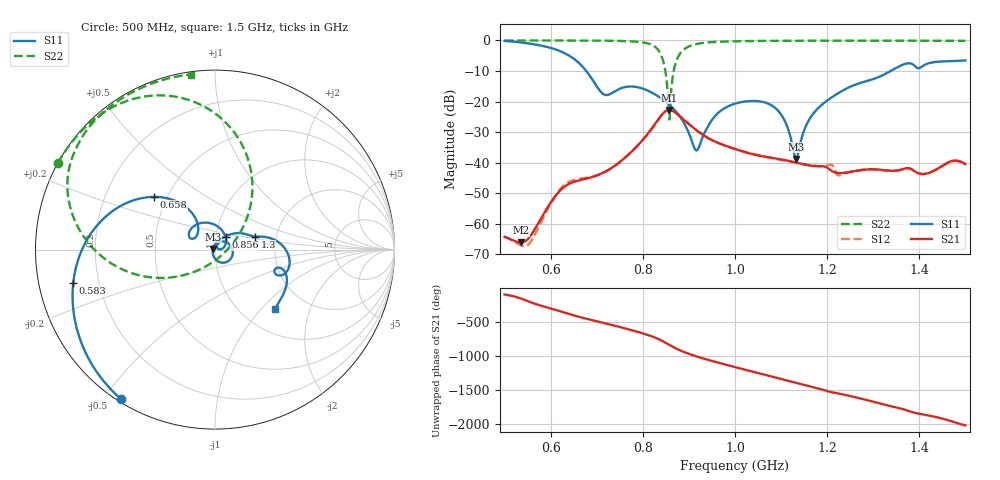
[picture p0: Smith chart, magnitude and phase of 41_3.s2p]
! TOUCHSTONE file generated by CST MICROWAVE STUDIO
! Date and time: Fri Oct 30 08:04:50 2020
! Project name: Scenario_1_Circular_Tissue_out_of_Line.cst
! Parameters = {dy1=346; L_HA=400; MT=2.54; Rad_Dielectric=30; Rad_Lower=7.3; Rad_Upper=30; a_HA=580; a_WG=246; b_HA=500; b_WG=121; c_HA=0; c_WG=187; d_feed=85; dx1=520; h_feed=15; h_lower=18; h_upper=40}
! Header version: 2018
! Port assignment regex: !\s*Touchstone port\s*([0-9]+)\s*=\s*(CST MWS port|CST DS port)\s*([0-9]+|Zmin|Zmax)\s*\(\"(.*)\"\)(\s*mode\s*([0-9]+))?.*
! Touchstone port assignment:
! Touchstone port 1 = CST MWS port 1 ("")
! Touchstone port 2 = CST MWS port 2 ("")
# GHz S DB R 50
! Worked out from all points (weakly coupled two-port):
!   1001 points, 500 MHz to 1.5 GHz, reference 50 ohm
!   highest |S21| = -22.74 dB at 857 MHz (marker M1); lowest = -66.1 dB at 535 MHz (marker M2)
!   lowest |S11| = -38.8 dB at 1.133 GHz (marker M3), VSWR 1.02, Z = 48.9 + j0.314 ohm
!   |S11| at or under -10 dB: 677.2 MHz to 1.338 GHz (660.5 MHz wide, 65.6 % of centre)
!   |S22| runs from -25.9 to 0.0 dB; largest |S21 - S12| = 0.0021
!   S11 on the Smith chart (normalised r, x): 500 MHz: 0.01, -0.55; 583 MHz: 0.11, -0.12; 658 MHz: 0.42, +0.31; 856 MHz: 1.11, +0.15; 1.3 GHz: 1.55, +0.24; 1.5 GHz: 1.41, -1.20
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0.5  -0.15 -122.4  -64.26 -100.2  -64.18 -100.6  -0.01 151.1
0.535  -0.65 -139.7  -66.09 -157.2  -67.02 -149.7  -0.01 148.8
0.583  -1.81 -166.7  -57.19 88.2  -58.28 86.5  -0.02 145.4
0.622  -3.60 166.9  -48.88 10.5  -48.49 10.5  -0.02 142.4
0.658  -6.94 139.2  -45.93 -62.3  -45.42 -64.5  -0.04 139.2
0.667  -8.23 132.7  -45.59 -78.5  -45.20 -80.5  -0.04 138.4
0.717  -17.76 139.9  -43.03 -161.9  -43.13 -161.0  -0.09 132.7
0.791  -15.38 121.5  -34.01 65.9  -34.04 63.2  -0.47 116.6
0.834  -18.36 75.8  -25.73 -35.8  -25.82 -35.8  -3.26 83.0
0.846  -19.64 61.6  -23.56 -76.8  -23.50 -76.8  -7.83 59.1
0.856  -20.87 49.4  -22.75 -115.8  -22.74 -115.9  -22.81 2.6
0.857  -21.00 48.2  -22.74 -119.8  -22.74 -119.8  -25.86 -28.1
0.876  -24.00 24.6  -24.28 172.2  -24.18 173.6  -5.54 -168.0
0.916  -36.00 32.8  -29.32 69.8  -29.31 69.7  -1.19 159.9
0.955  -25.03 52.1  -32.98 -7.4  -32.98 -7.6  -0.50 147.9
1  -20.69 9.6  -35.51 -89.1  -35.51 -88.9  -0.28 140.3
1.087  -22.06 -65.5  -38.57 120.3  -38.67 120.5  -0.14 130.9
1.133  -38.82 163.7  -39.97 38.2  -40.08 38.7  -0.11 127.0
1.167  -24.52 65.8  -41.01 -19.8  -40.98 -20.1  -0.10 124.2
1.3  -12.65 18.2  -42.16 120.2  -42.20 120.4  -0.09 114.1
1.334  -10.31 12.6  -42.60 62.4  -42.60 62.5  -0.08 111.5
1.5  -6.56 -44.6  -40.47 131.5  -40.49 131.5  -0.13 97.9
